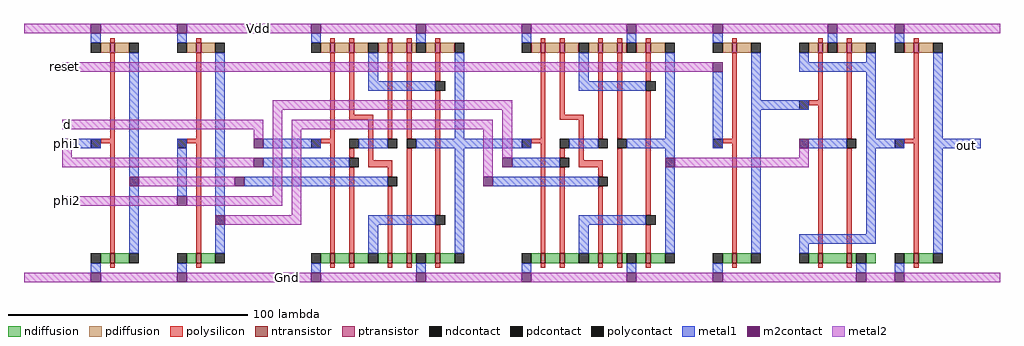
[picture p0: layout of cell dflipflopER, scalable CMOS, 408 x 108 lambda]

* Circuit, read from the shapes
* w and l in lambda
.subckt dflipflopER Gnd Vdd d out phi1 phi2 reset
M1 n1 phi1 Gnd VSUBS nfet w=4 l=2
M2 n2 phi2 Gnd VSUBS nfet w=4 l=2
M3 n3 d Gnd VSUBS nfet w=4 l=2
M4 n4 phi1 n3 VSUBS nfet w=4 l=2
M5 n5 n1 n4 VSUBS nfet w=4 l=2
M6 Gnd n6 n5 VSUBS nfet w=4 l=2
M7 n6 n4 Gnd VSUBS nfet w=4 l=2
M8 n7 n6 Gnd VSUBS nfet w=4 l=2
M9 n8 phi2 n7 VSUBS nfet w=4 l=2
M10 n9 n2 n8 VSUBS nfet w=4 l=2
M11 Gnd n10 n9 VSUBS nfet w=4 l=2
M12 n10 n8 Gnd VSUBS nfet w=4 l=2
M13 n11 reset Gnd VSUBS nfet w=4 l=2
M14 n12 n11 n13 VSUBS nfet w=4 l=2
M15 Gnd n10 n12 VSUBS nfet w=4 l=2
M16 out n13 Gnd VSUBS nfet w=4 l=2
M17 n1 phi1 Vdd NWELL pfet w=4 l=2
M18 n2 phi2 Vdd NWELL pfet w=4 l=2
M19 n14 d Vdd NWELL pfet w=4 l=2
M20 n4 n1 n14 NWELL pfet w=4 l=2
M21 n15 phi1 n4 NWELL pfet w=4 l=2
M22 Vdd n6 n15 NWELL pfet w=4 l=2
M23 n6 n4 Vdd NWELL pfet w=4 l=2
M24 n16 n6 Vdd NWELL pfet w=4 l=2
M25 n8 n2 n16 NWELL pfet w=4 l=2
M26 n17 phi2 n8 NWELL pfet w=4 l=2
M27 Vdd n10 n17 NWELL pfet w=4 l=2
M28 n10 n8 Vdd NWELL pfet w=4 l=2
M29 n11 reset Vdd NWELL pfet w=4 l=2
M30 Vdd n11 n13 NWELL pfet w=4 l=2
M31 n13 n10 Vdd NWELL pfet w=4 l=2
M32 out n13 Vdd NWELL pfet w=4 l=2
.ends

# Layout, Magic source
magic
tech scmos
<< metal1 >>
rect 176 56 188 60
rect 220 36 224 60
rect 256 56 280 60
rect 336 56 368 60
rect 444 56 448 88
rect 460 72 484 76
rect 548 56 556 60
rect 256 48 276 52
rect 360 48 364 52
rect 248 40 292 44
rect 352 40 364 44
<< metal2 >>
rect 156 104 180 108
rect 234 104 268 108
rect 348 104 356 108
rect 556 104 564 108
rect 172 88 444 92
rect 260 72 360 76
rect 172 64 256 68
rect 252 60 256 64
rect 172 52 176 56
rect 172 48 252 52
rect 204 40 244 44
rect 260 36 264 72
rect 172 32 220 36
rect 224 32 264 36
rect 268 64 352 68
rect 268 28 272 64
rect 348 44 352 64
rect 356 52 360 72
rect 480 52 484 56
rect 428 48 484 52
rect 240 24 272 28
rect 156 0 180 4
rect 239 0 271 4
rect 348 0 356 4
rect 556 0 564 4
<< m2contact >>
rect 444 88 448 92
rect 172 56 176 60
rect 200 40 204 44
rect 252 56 256 60
rect 480 56 484 60
rect 252 48 256 52
rect 356 48 360 52
rect 424 48 428 52
rect 244 40 248 44
rect 348 40 352 44
rect 220 32 224 36
rect 236 24 240 28
use 2inAND  2inAND_3
transform 1 0 472 0 1 0
box 0 0 84 108
use inverter  inverter_0
transform 1 0 436 0 1 0
box 0 0 36 108
use inverter  inverter_1
transform 1 0 212 0 1 0
box 0 0 36 108
use inverter  inverter_2
transform 1 0 176 0 1 0
box 0 0 36 108
use latch  latch_0
transform 1 0 268 0 1 0
box 0 0 80 108
use latch  latch_1
transform 1 0 356 0 1 0
box 0 0 80 108
<< labels >>
rlabel metal2 266 2 266 2 2 Gnd
rlabel metal2 254 106 254 106 5 Vdd
rlabel metal2 173 90 173 90 1 reset
rlabel metal2 174 66 174 66 1 d
rlabel m2contact 174 58 174 58 1 phi1
rlabel metal2 174 34 174 34 1 phi2
rlabel metal1 550 57 550 57 1 out
<< end >>

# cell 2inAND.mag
magic
tech scmos
<< polysilicon >>
rect 16 100 18 102
rect 28 100 30 102
rect 16 76 18 96
rect 12 74 18 76
rect 16 12 18 74
rect 28 60 30 96
rect 28 12 30 56
rect 16 6 18 8
rect 28 6 30 8
<< ndiffusion >>
rect 12 8 16 12
rect 18 8 28 12
rect 30 8 32 12
rect 36 8 40 12
<< pdiffusion >>
rect 12 96 16 100
rect 18 96 20 100
rect 24 96 28 100
rect 30 96 36 100
<< metal1 >>
rect 20 100 24 104
rect 8 92 12 96
rect 36 92 40 96
rect 8 88 40 92
rect 36 60 40 88
rect 8 56 28 60
rect 36 56 52 60
rect 64 56 76 60
rect 36 20 40 56
rect 8 16 40 20
rect 8 12 12 16
rect 32 4 36 8
<< metal2 >>
rect 0 104 20 108
rect 24 104 40 108
rect 76 104 84 108
rect 0 0 32 4
rect 36 0 40 4
rect 76 0 84 4
<< ntransistor >>
rect 16 8 18 12
rect 28 8 30 12
<< ptransistor >>
rect 16 96 18 100
rect 28 96 30 100
<< polycontact >>
rect 8 72 12 76
rect 28 56 32 60
<< ndcontact >>
rect 8 8 12 12
rect 32 8 36 12
<< pdcontact >>
rect 8 96 12 100
rect 20 96 24 100
rect 36 96 40 100
<< m2contact >>
rect 20 104 24 108
rect 32 0 36 4
use inverter  inverter_0
transform 1 0 40 0 1 0
box 0 0 36 108
<< end >>

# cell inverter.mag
magic
tech scmos
<< polysilicon >>
rect 16 100 18 102
rect 16 60 18 96
rect 12 58 18 60
rect 16 12 18 58
rect 16 6 18 8
<< ndiffusion >>
rect 12 8 16 12
rect 18 8 24 12
<< pdiffusion >>
rect 12 96 16 100
rect 18 96 24 100
<< metal1 >>
rect 8 100 12 104
rect 24 12 28 96
rect 8 4 12 8
<< metal2 >>
rect 0 104 8 108
rect 12 104 36 108
rect 0 0 8 4
rect 12 0 36 4
<< ntransistor >>
rect 16 8 18 12
<< ptransistor >>
rect 16 96 18 100
<< polycontact >>
rect 8 56 12 60
<< ndcontact >>
rect 8 8 12 12
rect 24 8 28 12
<< pdcontact >>
rect 8 96 12 100
rect 24 96 28 100
<< m2contact >>
rect 8 104 12 108
rect 8 0 12 4
<< end >>

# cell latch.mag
magic
tech scmos
<< polysilicon >>
rect 16 100 18 102
rect 24 100 26 102
rect 40 100 42 102
rect 48 100 50 102
rect 60 100 62 102
rect 16 60 18 96
rect 24 70 26 96
rect 24 68 34 70
rect 12 58 18 60
rect 16 12 18 58
rect 24 52 26 56
rect 32 51 34 68
rect 40 60 42 96
rect 48 60 50 96
rect 60 84 62 96
rect 32 48 42 51
rect 24 12 26 48
rect 40 44 42 48
rect 40 12 42 40
rect 48 12 50 56
rect 60 28 62 80
rect 60 12 62 24
rect 16 6 18 8
rect 24 6 26 8
rect 40 6 42 8
rect 48 6 50 8
rect 60 6 62 8
<< ndiffusion >>
rect 12 8 16 12
rect 18 8 24 12
rect 26 8 32 12
rect 36 8 40 12
rect 42 8 48 12
rect 50 8 52 12
rect 56 8 60 12
rect 62 8 68 12
<< pdiffusion >>
rect 12 96 16 100
rect 18 96 24 100
rect 26 96 32 100
rect 36 96 40 100
rect 42 96 48 100
rect 50 96 52 100
rect 56 96 60 100
rect 62 96 68 100
<< metal1 >>
rect 8 100 12 104
rect 52 100 56 104
rect 32 84 36 96
rect 32 80 60 84
rect 68 60 72 96
rect 28 56 40 60
rect 52 56 72 60
rect 8 48 24 52
rect 8 40 40 44
rect 32 24 60 28
rect 32 12 36 24
rect 68 12 72 56
rect 8 4 12 8
rect 52 4 56 8
<< metal2 >>
rect 0 104 8 108
rect 12 104 52 108
rect 56 104 80 108
rect 0 0 8 4
rect 12 0 52 4
rect 56 0 80 4
<< ntransistor >>
rect 16 8 18 12
rect 24 8 26 12
rect 40 8 42 12
rect 48 8 50 12
rect 60 8 62 12
<< ptransistor >>
rect 16 96 18 100
rect 24 96 26 100
rect 40 96 42 100
rect 48 96 50 100
rect 60 96 62 100
<< polycontact >>
rect 8 56 12 60
rect 24 56 28 60
rect 24 48 28 52
rect 60 80 64 84
rect 40 56 44 60
rect 48 56 52 60
rect 40 40 44 44
rect 60 24 64 28
<< ndcontact >>
rect 8 8 12 12
rect 32 8 36 12
rect 52 8 56 12
rect 68 8 72 12
<< pdcontact >>
rect 8 96 12 100
rect 32 96 36 100
rect 52 96 56 100
rect 68 96 72 100
<< m2contact >>
rect 8 104 12 108
rect 52 104 56 108
rect 8 0 12 4
rect 52 0 56 4
<< end >>
